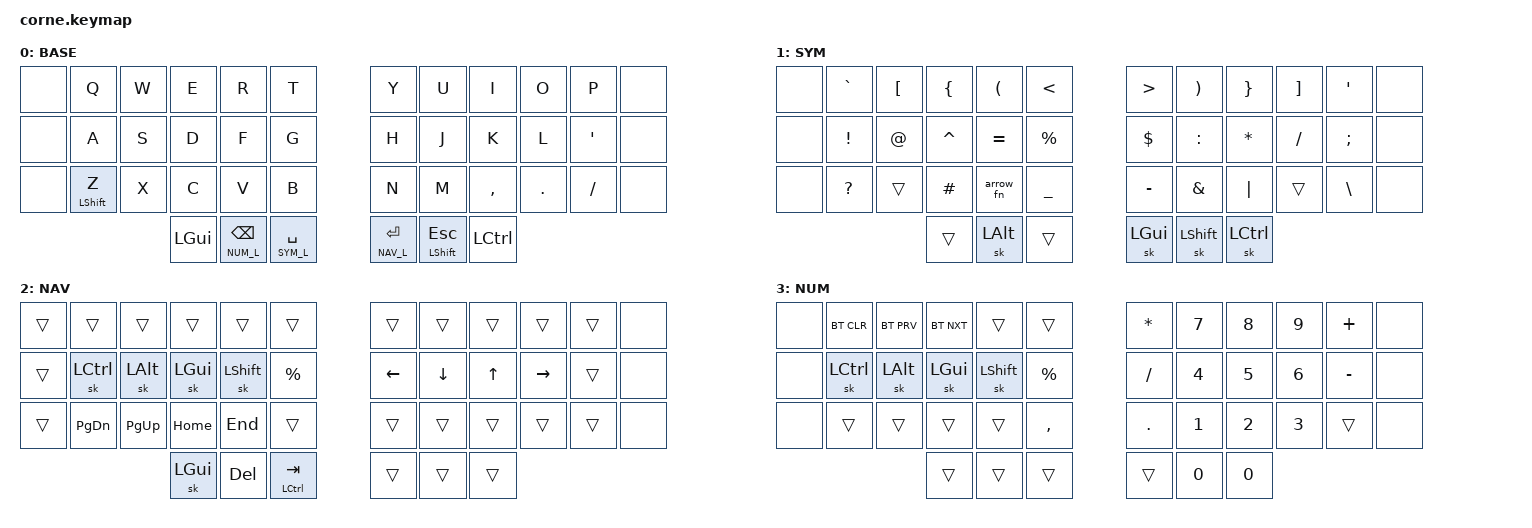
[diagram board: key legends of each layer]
/*
 * Copyright (c) 2020 The ZMK Contributors
 *
 * SPDX-License-Identifier: MIT
 */

#include <behaviors.dtsi>
#include <dt-bindings/zmk/keys.h>
#include <dt-bindings/zmk/bt.h>

#define BASE_L 0
#define SYM_L 1
#define NAV_L 2
#define NUM_L 3

#define QUICK_TAP_MS 175
#define TAP_TERM_MS 200

&lt {  // layer-tap config
    flavor = "balanced";
    tapping-term-ms = <TAP_TERM_MS>;
    quick-tap-ms = <QUICK_TAP_MS>;
};

&mt { // mod-tap config
    flavor = "tap-preferred";
    tapping-term-ms = <TAP_TERM_MS>;
};

/ {
        macros {
                arrow_fn: arrow_fn {
                        compatible = "zmk,behavior-macro";
                        #binding-cells = <0>;
                        bindings
                            = <&macro_tap &kp EQUAL>
                            , <&macro_tap &kp GT>
                            ;
                };
        };
 
        keymap {
                compatible = "zmk,keymap";

                default_layer {
                        display-name = "BASE";
// -----------------------------------------------------------------------------------------
// |  TAB |  Q  |  W  |  E  |  R  |  T  |   |  Y  |  U   |  I  |  O  |  P  | BKSP |
// | CTRL |  A  |  S  |  D  |  F  |  G  |   |  H  |  J   |  K  |  L  |  ;  |  '   |
// | SHFT |  Z  |  X  |  C  |  V  |  B  |   |  N  |  M   |  ,  |  .  |  /  | ESC  |
//                    | GUI | LWR | SPC |   | ENT | RSE  | ALT |
                        bindings = <
   &none &kp Q       &kp W &kp E &kp R &kp T   &kp Y &kp U  &kp I     &kp O   &kp P    &none
   &none &kp A       &kp S &kp D &kp F &kp G   &kp H &kp J  &kp K     &kp L   &kp SQT  &none
   &none &mt LSHFT Z &kp X &kp C &kp V &kp B   &kp N &kp M  &kp COMMA &kp DOT &kp FSLH &none
                  &kp LGUI &lt NUM_L BSPC &lt SYM_L SPACE  &lt NAV_L RET &mt LSHFT ESC &kp LCTRL
                        >;
                };

                sym_layer {
                        display-name = "SYM";
                        bindings = <
   &none &kp GRAVE &kp LBKT &kp LBRC  &kp LPAR  &kp LT    &kp GT    &kp RPAR  &kp RBRC &kp RBKT &kp SQT  &none 
   &none &kp EXCL  &kp AT   &kp CARET &kp EQUAL &kp PRCNT &kp DLLR  &kp COLON &kp STAR &kp FSLH &kp SEMI &none
   &none &kp QMARK &trans   &kp HASH  &arrow_fn &kp UNDER &kp MINUS &kp AMPS  &kp PIPE &trans   &kp BSLH &none
                          	         &trans &sk LALT &trans &sk LGUI &sk LSHFT &sk LCTRL
                        >;
                };

                nav_layer {
                        display-name = "NAV";
                        bindings = <
   &trans &trans    &trans    &trans   &trans    &trans    &trans   &trans   &trans &trans    &trans &none
   &trans &sk LCTRL &sk LALT  &sk LGUI &sk LSHFT &kp PRCNT &kp LEFT &kp DOWN &kp UP &kp RIGHT &trans &none
   &trans &kp PG_DN &kp PG_UP &kp HOME &kp END   &trans    &trans   &trans   &trans &trans    &trans &none
                    	     &sk LGUI &kp DEL &mt LCTRL TAB    &trans &trans  &trans
                        >;
                };

                num_layer {
                        display-name = "NUM";
                        bindings = <
   &none &bt BT_CLR &bt BT_PRV &bt BT_NXT &trans    &trans    &kp STAR  &kp N7 &kp N8 &kp N9 &kp PLUS  &none
   &none &sk LCTRL  &sk LALT   &sk LGUI   &sk LSHFT &kp PRCNT &kp FSLH  &kp N4 &kp N5 &kp N6 &kp MINUS &none
   &none &trans     &trans     &trans     &trans    &kp COMMA &kp DOT   &kp N1 &kp N2 &kp N3 &trans    &none 
                                   &trans &trans &trans &trans &kp N0 &kp N0    
                        >;
                };
        };
};
